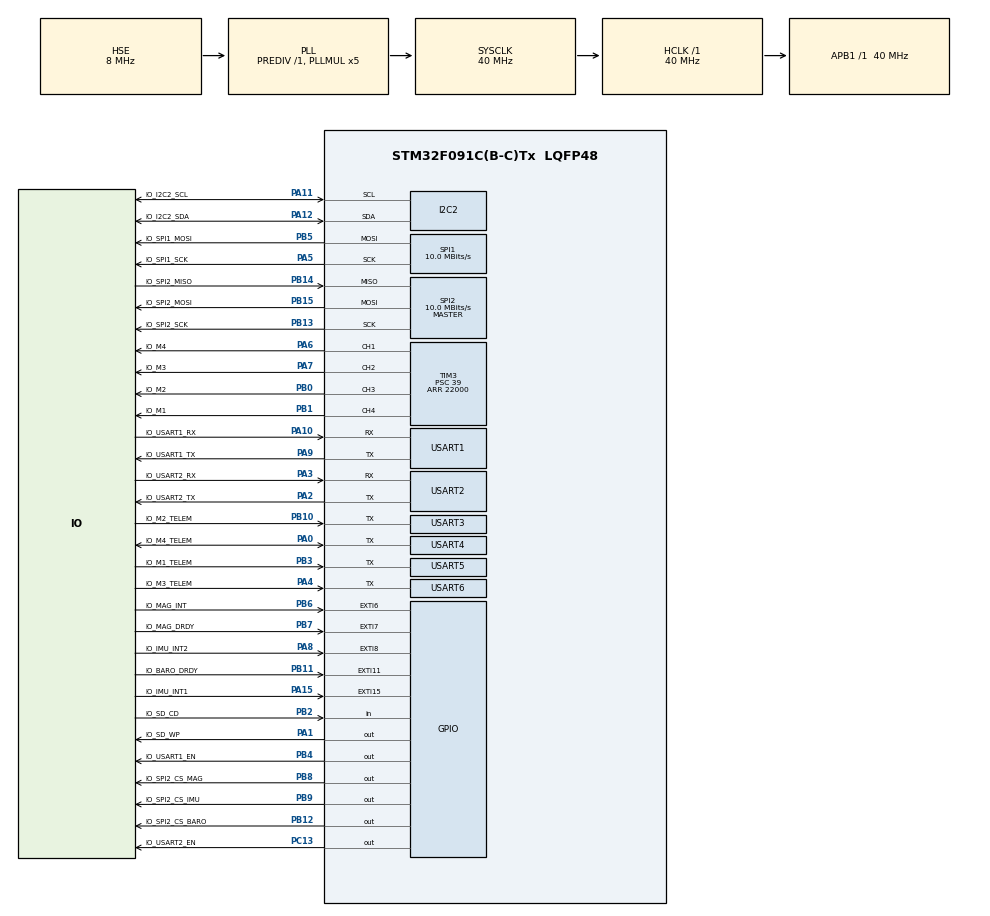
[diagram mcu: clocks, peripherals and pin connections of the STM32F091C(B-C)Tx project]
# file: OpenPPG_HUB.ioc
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Dma.Request0=USART1_RX
Dma.Request1=USART2_RX
Dma.Request10=SPI1_TX
Dma.Request2=USART3_RX
Dma.Request3=USART4_RX
Dma.Request4=USART1_TX
Dma.Request5=SPI2_TX
Dma.Request6=USART2_TX
Dma.Request7=USART5_RX
Dma.Request8=USART6_RX
Dma.Request9=SPI2_RX
Dma.SPI1_TX.10.Direction=DMA_MEMORY_TO_PERIPH
Dma.SPI1_TX.10.Instance=DMA2_Channel4
Dma.SPI1_TX.10.MemDataAlignment=DMA_MDATAALIGN_BYTE
Dma.SPI1_TX.10.MemInc=DMA_MINC_ENABLE
Dma.SPI1_TX.10.Mode=DMA_NORMAL
Dma.SPI1_TX.10.PeriphDataAlignment=DMA_PDATAALIGN_BYTE
Dma.SPI1_TX.10.PeriphInc=DMA_PINC_DISABLE
Dma.SPI1_TX.10.Priority=DMA_PRIORITY_LOW
Dma.SPI2_RX.9.Direction=DMA_PERIPH_TO_MEMORY
Dma.SPI2_RX.9.Instance=DMA1_Channel4
Dma.SPI2_RX.9.MemDataAlignment=DMA_MDATAALIGN_BYTE
Dma.SPI2_RX.9.MemInc=DMA_MINC_ENABLE
Dma.SPI2_RX.9.Mode=DMA_NORMAL
Dma.SPI2_RX.9.PeriphDataAlignment=DMA_PDATAALIGN_BYTE
Dma.SPI2_RX.9.PeriphInc=DMA_PINC_DISABLE
Dma.SPI2_RX.9.Priority=DMA_PRIORITY_LOW
Dma.SPI2_TX.5.Direction=DMA_MEMORY_TO_PERIPH
Dma.SPI2_TX.5.Instance=DMA1_Channel7
Dma.SPI2_TX.5.MemDataAlignment=DMA_MDATAALIGN_BYTE
Dma.SPI2_TX.5.MemInc=DMA_MINC_ENABLE
Dma.SPI2_TX.5.Mode=DMA_NORMAL
Dma.SPI2_TX.5.PeriphDataAlignment=DMA_PDATAALIGN_BYTE
Dma.SPI2_TX.5.PeriphInc=DMA_PINC_DISABLE
Dma.SPI2_TX.5.Priority=DMA_PRIORITY_LOW
Dma.USART1_RX.0.Direction=DMA_PERIPH_TO_MEMORY
Dma.USART1_RX.0.Instance=DMA1_Channel1
Dma.USART1_RX.0.MemDataAlignment=DMA_MDATAALIGN_BYTE
Dma.USART1_RX.0.MemInc=DMA_MINC_ENABLE
Dma.USART1_RX.0.Mode=DMA_NORMAL
Dma.USART1_RX.0.PeriphDataAlignment=DMA_PDATAALIGN_BYTE
Dma.USART1_RX.0.PeriphInc=DMA_PINC_DISABLE
Dma.USART1_RX.0.Priority=DMA_PRIORITY_LOW
Dma.USART1_TX.4.Direction=DMA_MEMORY_TO_PERIPH
Dma.USART1_TX.4.Instance=DMA1_Channel2
Dma.USART1_TX.4.MemDataAlignment=DMA_MDATAALIGN_BYTE
Dma.USART1_TX.4.MemInc=DMA_MINC_ENABLE
Dma.USART1_TX.4.Mode=DMA_NORMAL
Dma.USART1_TX.4.PeriphDataAlignment=DMA_PDATAALIGN_BYTE
Dma.USART1_TX.4.PeriphInc=DMA_PINC_DISABLE
Dma.USART1_TX.4.Priority=DMA_PRIORITY_LOW
Dma.USART2_RX.1.Direction=DMA_PERIPH_TO_MEMORY
Dma.USART2_RX.1.Instance=DMA1_Channel3
Dma.USART2_RX.1.MemDataAlignment=DMA_MDATAALIGN_BYTE
Dma.USART2_RX.1.MemInc=DMA_MINC_ENABLE
Dma.USART2_RX.1.Mode=DMA_NORMAL
Dma.USART2_RX.1.PeriphDataAlignment=DMA_PDATAALIGN_BYTE
Dma.USART2_RX.1.PeriphInc=DMA_PINC_DISABLE
Dma.USART2_RX.1.Priority=DMA_PRIORITY_LOW
Dma.USART2_TX.6.Direction=DMA_MEMORY_TO_PERIPH
Dma.USART2_TX.6.Instance=DMA2_Channel1
Dma.USART2_TX.6.MemDataAlignment=DMA_MDATAALIGN_BYTE
Dma.USART2_TX.6.MemInc=DMA_MINC_ENABLE
Dma.USART2_TX.6.Mode=DMA_NORMAL
Dma.USART2_TX.6.PeriphDataAlignment=DMA_PDATAALIGN_BYTE
Dma.USART2_TX.6.PeriphInc=DMA_PINC_DISABLE
Dma.USART2_TX.6.Priority=DMA_PRIORITY_LOW
Dma.USART3_RX.2.Direction=DMA_PERIPH_TO_MEMORY
Dma.USART3_RX.2.Instance=DMA1_Channel5
Dma.USART3_RX.2.MemDataAlignment=DMA_MDATAALIGN_BYTE
Dma.USART3_RX.2.MemInc=DMA_MINC_ENABLE
Dma.USART3_RX.2.Mode=DMA_NORMAL
Dma.USART3_RX.2.PeriphDataAlignment=DMA_PDATAALIGN_BYTE
Dma.USART3_RX.2.PeriphInc=DMA_PINC_DISABLE
Dma.USART3_RX.2.Priority=DMA_PRIORITY_LOW
Dma.USART4_RX.3.Direction=DMA_PERIPH_TO_MEMORY
Dma.USART4_RX.3.Instance=DMA1_Channel6
Dma.USART4_RX.3.MemDataAlignment=DMA_MDATAALIGN_BYTE
Dma.USART4_RX.3.MemInc=DMA_MINC_ENABLE
Dma.USART4_RX.3.Mode=DMA_NORMAL
Dma.USART4_RX.3.PeriphDataAlignment=DMA_PDATAALIGN_BYTE
Dma.USART4_RX.3.PeriphInc=DMA_PINC_DISABLE
Dma.USART4_RX.3.Priority=DMA_PRIORITY_LOW
Dma.USART5_RX.7.Direction=DMA_PERIPH_TO_MEMORY
Dma.USART5_RX.7.Instance=DMA2_Channel2
Dma.USART5_RX.7.MemDataAlignment=DMA_MDATAALIGN_BYTE
Dma.USART5_RX.7.MemInc=DMA_MINC_ENABLE
Dma.USART5_RX.7.Mode=DMA_NORMAL
Dma.USART5_RX.7.PeriphDataAlignment=DMA_PDATAALIGN_BYTE
Dma.USART5_RX.7.PeriphInc=DMA_PINC_DISABLE
Dma.USART5_RX.7.Priority=DMA_PRIORITY_LOW
Dma.USART6_RX.8.Direction=DMA_PERIPH_TO_MEMORY
Dma.USART6_RX.8.Instance=DMA2_Channel3
Dma.USART6_RX.8.MemDataAlignment=DMA_MDATAALIGN_BYTE
Dma.USART6_RX.8.MemInc=DMA_MINC_ENABLE
Dma.USART6_RX.8.Mode=DMA_NORMAL
Dma.USART6_RX.8.PeriphDataAlignment=DMA_PDATAALIGN_BYTE
Dma.USART6_RX.8.PeriphInc=DMA_PINC_DISABLE
Dma.USART6_RX.8.Priority=DMA_PRIORITY_LOW
I2C2.Timing=0x00909BEB
IWDG.Prescaler=IWDG_PRESCALER_8
Mcu.Family=STM32F0
Mcu.Name=STM32F091C(B-C)Tx
Mcu.Package=LQFP48
NVIC.DMA1_Ch1_IRQn=true\:0\:0\:false\:false\:true\:false
NVIC.DMA1_Ch2_3_DMA2_Ch1_2_IRQn=true\:0\:0\:false\:false\:true\:false
NVIC.DMA1_Ch4_7_DMA2_Ch3_5_IRQn=true\:0\:0\:false\:false\:true\:false
NVIC.TIM3_IRQn=true\:0\:0\:false\:false\:true\:true
NVIC.USART1_IRQn=true\:0\:0\:false\:false\:true\:true
NVIC.USART2_IRQn=true\:0\:0\:false\:false\:true\:true
NVIC.USART3_8_IRQn=true\:0\:0\:false\:false\:true\:true
PA0.GPIO_Label=IO_M4_TELEM
PA0.Mode=Half_duplex(single_wire_mode)
PA0.Signal=USART4_TX
PA1.GPIO_Label=IO_SD_WP
PA1.Signal=GPIO_Output
PA10.GPIO_Label=IO_USART1_RX
PA10.GPIO_PuPd=GPIO_PULLUP
PA10.Mode=Asynchronous
PA10.Signal=USART1_RX
PA11.GPIO_Label=IO_I2C2_SCL
PA11.Mode=I2C
PA11.Signal=I2C2_SCL
PA12.GPIO_Label=IO_I2C2_SDA
PA12.Mode=I2C
PA12.Signal=I2C2_SDA
PA13.Mode=Serial_Wire
PA13.Signal=SYS_SWDIO
PA14.Mode=Serial_Wire
PA14.Signal=SYS_SWCLK
PA15.GPIO_Label=IO_IMU_INT1
PA15.Signal=GPXTI15
PA2.GPIO_Label=IO_USART2_TX
PA2.GPIO_PuPd=GPIO_PULLUP
PA2.Mode=Asynchronous
PA2.Signal=USART2_TX
PA3.GPIO_Label=IO_USART2_RX
PA3.GPIO_PuPd=GPIO_PULLUP
PA3.Mode=Asynchronous
PA3.Signal=USART2_RX
PA4.GPIO_Label=IO_M3_TELEM
PA4.Mode=Half_duplex(single_wire_mode)
PA4.Signal=USART6_TX
PA5.GPIO_Label=IO_SPI1_SCK
PA5.Mode=TX_Only_Simplex_Unidirect_Master
PA5.Signal=SPI1_SCK
PA6.GPIO_Label=IO_M4
PA6.Signal=S_TIM3_CH1
PA7.GPIO_Label=IO_M3
PA7.Signal=S_TIM3_CH2
PA8.GPIO_Label=IO_IMU_INT2
PA8.Signal=GPXTI8
PA9.GPIO_Label=IO_USART1_TX
PA9.GPIO_PuPd=GPIO_PULLUP
PA9.Mode=Asynchronous
PA9.Signal=USART1_TX
PB0.GPIO_Label=IO_M2
PB0.Signal=S_TIM3_CH3
PB1.GPIO_Label=IO_M1
PB1.Signal=S_TIM3_CH4
PB10.GPIO_Label=IO_M2_TELEM
PB10.Mode=Half_duplex(single_wire_mode)
PB10.Signal=USART3_TX
PB11.GPIO_Label=IO_BARO_DRDY
PB11.Signal=GPXTI11
PB12.GPIO_Label=IO_SPI2_CS_BARO
PB12.PinState=GPIO_PIN_SET
PB12.Signal=GPIO_Output
PB13.GPIO_Label=IO_SPI2_SCK
PB13.Mode=Full_Duplex_Master
PB13.Signal=SPI2_SCK
PB14.GPIO_Label=IO_SPI2_MISO
PB14.Mode=Full_Duplex_Master
PB14.Signal=SPI2_MISO
PB15.GPIO_Label=IO_SPI2_MOSI
PB15.Mode=Full_Duplex_Master
PB15.Signal=SPI2_MOSI
PB2.GPIO_Label=IO_SD_CD
PB2.Signal=GPIO_Input
PB3.GPIO_Label=IO_M1_TELEM
PB3.Mode=Half_duplex(single_wire_mode)
PB3.Signal=USART5_TX
PB4.GPIO_Label=IO_USART1_EN
PB4.GPIO_Speed=GPIO_SPEED_FREQ_LOW
PB4.Signal=GPIO_Output
PB5.GPIO_Label=IO_SPI1_MOSI
PB5.Mode=TX_Only_Simplex_Unidirect_Master
PB5.Signal=SPI1_MOSI
PB6.GPIO_Label=IO_MAG_INT
PB6.Signal=GPXTI6
PB7.GPIO_Label=IO_MAG_DRDY
PB7.Signal=GPXTI7
PB8.GPIO_Label=IO_SPI2_CS_MAG
PB8.PinState=GPIO_PIN_SET
PB8.Signal=GPIO_Output
PB9.GPIO_Label=IO_SPI2_CS_IMU
PB9.PinState=GPIO_PIN_SET
PB9.Signal=GPIO_Output
PC13.GPIO_Label=IO_USART2_EN
PC13.Signal=GPIO_Output
PC14OSC32_IN.GPIO_Label=IO_LED_STATUS
PC14OSC32_IN.Signal=GPIO_Output
PC15OSC32_OUT.GPIO_Label=IO_SD_CS
PC15OSC32_OUT.PinState=GPIO_PIN_SET
PC15OSC32_OUT.Signal=GPIO_Output
PF0-OSC_IN.Mode=HSE-External-Oscillator
PF0-OSC_IN.Signal=RCC_OSC_IN
PF1-OSC_OUT.Mode=HSE-External-Oscillator
PF1-OSC_OUT.Signal=RCC_OSC_OUT
ProjectManager.HeapSize=0x200
ProjectManager.StackSize=0x400
ProjectManager.TargetToolchain=TrueSTUDIO
RCC.AHBFreq_Value=40000000
RCC.APB1Freq_Value=40000000
RCC.APB1TimFreq_Value=40000000
RCC.HCLKFreq_Value=40000000
RCC.PLLMUL=RCC_PLL_MUL5
RCC.PLLSourceVirtual=RCC_PLLSOURCE_HSE
RCC.SYSCLKFreq_VALUE=40000000
RCC.SYSCLKSource=RCC_SYSCLKSOURCE_PLLCLK
SH.S_TIM3_CH1.0=TIM3_CH1,PWM Generation1 CH1
SH.S_TIM3_CH2.0=TIM3_CH2,PWM Generation2 CH2
SH.S_TIM3_CH3.0=TIM3_CH3,PWM Generation3 CH3
SH.S_TIM3_CH4.0=TIM3_CH4,PWM Generation4 CH4
SPI1.BaudRatePrescaler=SPI_BAUDRATEPRESCALER_4
SPI1.CalculateBaudRate=10.0 MBits/s
SPI1.Direction=SPI_DIRECTION_2LINES
SPI1.Mode=SPI_MODE_MASTER
SPI1.VirtualType=VM_MASTER
SPI2.BaudRatePrescaler=SPI_BAUDRATEPRESCALER_4
SPI2.CLKPhase=SPI_PHASE_2EDGE
SPI2.CLKPolarity=SPI_POLARITY_HIGH
SPI2.CalculateBaudRate=10.0 MBits/s
SPI2.DataSize=SPI_DATASIZE_8BIT
SPI2.Direction=SPI_DIRECTION_2LINES
SPI2.Mode=SPI_MODE_MASTER
SPI2.VirtualType=VM_MASTER
STMicroelectronics.X-CUBE-MEMS1.5.2.1.BoardOoComponentJjMEMS.apiComponent0=Board Extension\:IKS01A2
STMicroelectronics.X-CUBE-MEMS1.5.2.1.BoardOoComponentJjMEMS.apiDoc0=Documentation/X_CUBE_MEMS1.chm
STMicroelectronics.X-CUBE-MEMS1.5.2.1.BoardOoComponentJjMEMS.cmp_version0=5.2.1
STMicroelectronics.X-CUBE-MEMS1.5.2.1.BoardOoComponentJjMEMS.cmp_version1=5.2.1
STMicroelectronics.X-CUBE-MEMS1.5.2.1.BoardOoComponentJjMEMS.component0=Board Component
STMicroelectronics.X-CUBE-MEMS1.5.2.1.BoardOoComponentJjMEMS.component1=Board Component
STMicroelectronics.X-CUBE-MEMS1.5.2.1.BoardOoComponentJjMEMS.description0=MEMS library for custom boards,LSM6DSL component driver
STMicroelectronics.X-CUBE-MEMS1.5.2.1.BoardOoComponentJjMEMS.description1=MEMS library for custom boards,LPS22HB component driver
STMicroelectronics.X-CUBE-MEMS1.5.2.1.BoardOoComponentJjMEMS.diagnostic0=This component should operate correctly.
STMicroelectronics.X-CUBE-MEMS1.5.2.1.BoardOoComponentJjMEMS.diagnostic1=This component should operate correctly.
STMicroelectronics.X-CUBE-MEMS1.5.2.1.BoardOoComponentJjMEMS.documentation0=Documentation/STMicroelectronics.X-CUBE-MEMS1_GettingStarted.pdf
STMicroelectronics.X-CUBE-MEMS1.5.2.1.BoardOoComponentJjMEMS.documentation1=Documentation/STMicroelectronics.X-CUBE-MEMS1_GettingStarted.pdf
STMicroelectronics.X-CUBE-MEMS1.5.2.1.BoardOoComponentJjMEMS.group0=AccGyr
STMicroelectronics.X-CUBE-MEMS1.5.2.1.BoardOoComponentJjMEMS.group1=PressTemp
STMicroelectronics.X-CUBE-MEMS1.5.2.1.BoardOoComponentJjMEMS.paramName0=MEMSCcBoardOoComponentJjAccGyrJjLSM6DSL
STMicroelectronics.X-CUBE-MEMS1.5.2.1.BoardOoComponentJjMEMS.paramName1=MEMSCcBoardOoComponentJjPressTempJjLPS22HB
STMicroelectronics.X-CUBE-MEMS1.5.2.1.BoardOoComponentJjMEMS.sevirity0=none
STMicroelectronics.X-CUBE-MEMS1.5.2.1.BoardOoComponentJjMEMS.sevirity1=none
STMicroelectronics.X-CUBE-MEMS1.5.2.1.BoardOoComponentJjMEMS.sub-group0=LSM6DSL
STMicroelectronics.X-CUBE-MEMS1.5.2.1.BoardOoComponentJjMEMS.sub-group1=LPS22HB
STMicroelectronics.X-CUBE-MEMS1.5.2.1.BoardOoComponentJjMEMS.variant0=SPI
STMicroelectronics.X-CUBE-MEMS1.5.2.1.BoardOoComponentJjMEMS.variant1=SPI
STMicroelectronics.X-CUBE-MEMS1.5.2.1.BoardOoComponentJjMEMS_apiSize=1
STMicroelectronics.X-CUBE-MEMS1.5.2.1.BoardOoComponentJjMEMS_bundle=MEMS
STMicroelectronics.X-CUBE-MEMS1.5.2.1.BoardOoComponentJjMEMS_class=BoardOoComponent
STMicroelectronics.X-CUBE-MEMS1.5.2.1.BoardOoComponentJjMEMS_name=X-CUBE-MEMS1
STMicroelectronics.X-CUBE-MEMS1.5.2.1.BoardOoComponentJjMEMS_size=2
STMicroelectronics.X-CUBE-MEMS1.5.2.1.BoardOoComponentJjMEMS_vendor=STMicroelectronics
STMicroelectronics.X-CUBE-MEMS1.5.2.1.BoardOoComponentJjMEMS_version=5.2.1
STMicroelectronics.X-CUBE-MEMS1.5.2.1.BoardOoSupportJjSTM32CubeIiCustomIiBSPIiDrivers.apiComponent0=Board Extension\:IKS01A2
STMicroelectronics.X-CUBE-MEMS1.5.2.1.BoardOoSupportJjSTM32CubeIiCustomIiBSPIiDrivers.apiDoc0=Documentation/X_CUBE_MEMS1.chm
STMicroelectronics.X-CUBE-MEMS1.5.2.1.BoardOoSupportJjSTM32CubeIiCustomIiBSPIiDrivers.cmp_version0=5.2.1
STMicroelectronics.X-CUBE-MEMS1.5.2.1.BoardOoSupportJjSTM32CubeIiCustomIiBSPIiDrivers.cmp_version1=5.2.1
STMicroelectronics.X-CUBE-MEMS1.5.2.1.BoardOoSupportJjSTM32CubeIiCustomIiBSPIiDrivers.component0=Board Support
STMicroelectronics.X-CUBE-MEMS1.5.2.1.BoardOoSupportJjSTM32CubeIiCustomIiBSPIiDrivers.component1=Board Support
STMicroelectronics.X-CUBE-MEMS1.5.2.1.BoardOoSupportJjSTM32CubeIiCustomIiBSPIiDrivers.description0=MEMS Board Support Package for custom boards,BSP for Motion Sensors 
STMicroelectronics.X-CUBE-MEMS1.5.2.1.BoardOoSupportJjSTM32CubeIiCustomIiBSPIiDrivers.description1=MEMS Board Support Package for custom boards,BSP for Environmental Sensors 
STMicroelectronics.X-CUBE-MEMS1.5.2.1.BoardOoSupportJjSTM32CubeIiCustomIiBSPIiDrivers.diagnostic0=This component should operate correctly.
STMicroelectronics.X-CUBE-MEMS1.5.2.1.BoardOoSupportJjSTM32CubeIiCustomIiBSPIiDrivers.diagnostic1=This component should operate correctly.
STMicroelectronics.X-CUBE-MEMS1.5.2.1.BoardOoSupportJjSTM32CubeIiCustomIiBSPIiDrivers.documentation0=Documentation/STMicroelectronics.X-CUBE-MEMS1_GettingStarted.pdf
STMicroelectronics.X-CUBE-MEMS1.5.2.1.BoardOoSupportJjSTM32CubeIiCustomIiBSPIiDrivers.documentation1=Documentation/STMicroelectronics.X-CUBE-MEMS1_GettingStarted.pdf
STMicroelectronics.X-CUBE-MEMS1.5.2.1.BoardOoSupportJjSTM32CubeIiCustomIiBSPIiDrivers.group0=Custom
STMicroelectronics.X-CUBE-MEMS1.5.2.1.BoardOoSupportJjSTM32CubeIiCustomIiBSPIiDrivers.group1=Custom
STMicroelectronics.X-CUBE-MEMS1.5.2.1.BoardOoSupportJjSTM32CubeIiCustomIiBSPIiDrivers.paramName0=STM32CubeIiCustomIiBSPIiDriversCcBoardOoSupportJjCustomJjMOTIONIiSENSOR
STMicroelectronics.X-CUBE-MEMS1.5.2.1.BoardOoSupportJjSTM32CubeIiCustomIiBSPIiDrivers.paramName1=STM32CubeIiCustomIiBSPIiDriversCcBoardOoSupportJjCustomJjENVIiSENSOR
STMicroelectronics.X-CUBE-MEMS1.5.2.1.BoardOoSupportJjSTM32CubeIiCustomIiBSPIiDrivers.sevirity0=none
STMicroelectronics.X-CUBE-MEMS1.5.2.1.BoardOoSupportJjSTM32CubeIiCustomIiBSPIiDrivers.sevirity1=none
STMicroelectronics.X-CUBE-MEMS1.5.2.1.BoardOoSupportJjSTM32CubeIiCustomIiBSPIiDrivers.sub-group0=MOTION_SENSOR
STMicroelectronics.X-CUBE-MEMS1.5.2.1.BoardOoSupportJjSTM32CubeIiCustomIiBSPIiDrivers.sub-group1=ENV_SENSOR
STMicroelectronics.X-CUBE-MEMS1.5.2.1.BoardOoSupportJjSTM32CubeIiCustomIiBSPIiDrivers_apiSize=1
STMicroelectronics.X-CUBE-MEMS1.5.2.1.BoardOoSupportJjSTM32CubeIiCustomIiBSPIiDrivers_bundle=STM32Cube_Custom_BSP_Drivers
STMicroelectronics.X-CUBE-MEMS1.5.2.1.BoardOoSupportJjSTM32CubeIiCustomIiBSPIiDrivers_class=BoardOoSupport
STMicroelectronics.X-CUBE-MEMS1.5.2.1.BoardOoSupportJjSTM32CubeIiCustomIiBSPIiDrivers_name=X-CUBE-MEMS1
STMicroelectronics.X-CUBE-MEMS1.5.2.1.BoardOoSupportJjSTM32CubeIiCustomIiBSPIiDrivers_size=2
STMicroelectronics.X-CUBE-MEMS1.5.2.1.BoardOoSupportJjSTM32CubeIiCustomIiBSPIiDrivers_vendor=STMicroelectronics
STMicroelectronics.X-CUBE-MEMS1.5.2.1.BoardOoSupportJjSTM32CubeIiCustomIiBSPIiDrivers_version=5.2.1
STMicroelectronics.X-CUBE-MEMS1.5.2.1.MEMSCcBoardOoComponentJjAccGyrJjLSM6DSL=SPI
STMicroelectronics.X-CUBE-MEMS1.5.2.1.MEMSCcBoardOoComponentJjPressTempJjLPS22HB=SPI
STMicroelectronics.X-CUBE-MEMS1.5.2.1.STM32CubeIiCustomIiBSPIiDriversCcBoardOoSupportJjCustomJjENVIiSENSOR=true
STMicroelectronics.X-CUBE-MEMS1.5.2.1.STM32CubeIiCustomIiBSPIiDriversCcBoardOoSupportJjCustomJjMOTIONIiSENSOR=true
STMicroelectronics.X-CUBE-MEMS1.5.2.1_BoardOoComponentJjMEMS_RteComponent0=\#define LSM6DSL_ACCGYR_SPI
STMicroelectronics.X-CUBE-MEMS1.5.2.1_BoardOoComponentJjMEMS_RteComponent1=\#define LPS22HB_PRESSTEMP_SPI
STMicroelectronics.X-CUBE-MEMS1.5.2.1_BoardOoComponentJjMEMS_RteComponentsize=2
STMicroelectronics.X-CUBE-MEMS1.5.2.1_BoardOoExtensionJjMEMS_RteComponentsize=0
STMicroelectronics.X-CUBE-MEMS1.5.2.1_BoardOoSupportJjSTM32CubeIiCustomIiBSPIiDrivers_RteComponent0=\#define BSP_MOTION_SENSORS
STMicroelectronics.X-CUBE-MEMS1.5.2.1_BoardOoSupportJjSTM32CubeIiCustomIiBSPIiDrivers_RteComponent1=\#define BSP_ENV_SENSORS
STMicroelectronics.X-CUBE-MEMS1.5.2.1_BoardOoSupportJjSTM32CubeIiCustomIiBSPIiDrivers_RteComponentsize=2
STMicroelectronics.X-CUBE-MEMS1.5.2.1_DeviceJjApplication_RteComponentsize=0
STMicroelectronics.X-CUBE-MEMS1.5.2.1_description=Drivers and sample applications for MEMS components
STMicroelectronics.X-CUBE-MEMS1.5.2.1_license=en.DM00367782.pdf
TIM3.AutoReloadPreload=TIM_AUTORELOAD_PRELOAD_ENABLE
TIM3.Channel-PWM\ Generation1\ CH1=TIM_CHANNEL_1
TIM3.Channel-PWM\ Generation2\ CH2=TIM_CHANNEL_2
TIM3.Channel-PWM\ Generation3\ CH3=TIM_CHANNEL_3
TIM3.Channel-PWM\ Generation4\ CH4=TIM_CHANNEL_4
TIM3.CounterMode=TIM_COUNTERMODE_DOWN
TIM3.Period=22000
TIM3.Prescaler=39
USART1.VirtualMode-Asynchronous=VM_ASYNC
USART2.VirtualMode-Asynchronous=VM_ASYNC
USART3.BaudRate=19200
USART3.Mode=MODE_RX
USART3.VirtualMode-Half_duplex(single_wire_mode)=VM_ASYNC
USART4.BaudRate=19200
USART4.VirtualMode-Half_duplex(single_wire_mode)=VM_ASYNC
USART5.BaudRate=19200
USART5.Mode=MODE_RX
USART5.SwapParam=ADVFEATURE_SWAP_DISABLE
USART5.VirtualMode-Half_duplex(single_wire_mode)=VM_ASYNC
USART6.BaudRate=19200
USART6.Mode=MODE_RX
USART6.VirtualMode=VM_ASYNC
VP_FATFS_VS_Generic.Mode=User_defined
VP_IWDG_VS_IWDG.Mode=IWDG_Activate
VP_TIM3_VS_OPM.Mode=OPM_bit
board=custom

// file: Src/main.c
/* USER CODE BEGIN Header */
/**
  ******************************************************************************
  * @file           : main.c
  * @brief          : Main program body
  ******************************************************************************
  * This notice applies to any and all portions of this file
  * that are not between comment pairs USER CODE BEGIN and
  * USER CODE END. Other portions of this file, whether
  * inserted by the user or by software development tools
  * are owned by their respective copyright owners.
  *
  * Copyright (c) 2019 STMicroelectronics International N.V.
  * All rights reserved.
  *
  * Redistribution and use in source and binary forms, with or without
  * modification, are permitted, provided that the following conditions are met:
  *
  * 1. Redistribution of source code must retain the above copyright notice,
  *    this list of conditions and the following disclaimer.
  * 2. Redistributions in binary form must reproduce the above copyright notice,
  *    this list of conditions and the following disclaimer in the documentation
  *    and/or other materials provided with the distribution.
  * 3. Neither the name of STMicroelectronics nor the names of other
  *    contributors to this software may be used to endorse or promote products
  *    derived from this software without specific written permission.
  * 4. This software, including modifications and/or derivative works of this
  *    software, must execute solely and exclusively on microcontroller or
  *    microprocessor devices manufactured by or for STMicroelectronics.
  * 5. Redistribution and use of this software other than as permitted under
  *    this license is void and will automatically terminate your rights under
  *    this license.
  *
  * THIS SOFTWARE IS PROVIDED BY STMICROELECTRONICS AND CONTRIBUTORS "AS IS"
  * AND ANY EXPRESS, IMPLIED OR STATUTORY WARRANTIES, INCLUDING, BUT NOT
  * LIMITED TO, THE IMPLIED WARRANTIES OF MERCHANTABILITY, FITNESS FOR A
  * PARTICULAR PURPOSE AND NON-INFRINGEMENT OF THIRD PARTY INTELLECTUAL PROPERTY
  * RIGHTS ARE DISCLAIMED TO THE FULLEST EXTENT PERMITTED BY LAW. IN NO EVENT
  * SHALL STMICROELECTRONICS OR CONTRIBUTORS BE LIABLE FOR ANY DIRECT, INDIRECT,
  * INCIDENTAL, SPECIAL, EXEMPLARY, OR CONSEQUENTIAL DAMAGES (INCLUDING, BUT NOT
  * LIMITED TO, PROCUREMENT OF SUBSTITUTE GOODS OR SERVICES; LOSS OF USE, DATA,
  * OR PROFITS; OR BUSINESS INTERRUPTION) HOWEVER CAUSED AND ON ANY THEORY OF
  * LIABILITY, WHETHER IN CONTRACT, STRICT LIABILITY, OR TORT (INCLUDING
  * NEGLIGENCE OR OTHERWISE) ARISING IN ANY WAY OUT OF THE USE OF THIS SOFTWARE,
  * EVEN IF ADVISED OF THE POSSIBILITY OF SUCH DAMAGE.
  *
  ******************************************************************************
  */
/* USER CODE END Header */

#include "main.h"
#include "dma.h"
#include "fatfs.h"
#include "i2c.h"
#include "iwdg.h"
#include "spi.h"
#include "tim.h"
#include "usart.h"
#include "gpio.h"

/* USER CODE BEGIN Includes */
#include "data_log.h"
#include "flash.h"
#include "controllerInterface.h"
#include "baro_LPS22HB.h"
#include "baro_proc.h"
#include "imu_LSM9DS1.h"
/* USER CODE END Includes */

/* USER CODE BEGIN PV */
#define APPLICATION_ADDRESS     (uint32_t)0x08008000
#if   (defined ( __CC_ARM ))
__IO uint32_t VectorTable[48] __attribute__((at(0x20000000)));
#elif (defined (__ICCARM__))
#pragma location = 0x20000000
__no_init __IO uint32_t VectorTable[48];
#elif defined   (  __GNUC__  )
__IO uint32_t VectorTable[48] __attribute__((section(".RAMVectorTable")));
#endif /* (defined ( __CC_ARM )) */

__attribute__((__section__(".crc"))) const uint32_t crc = 0xF0F0F0F0;

__attribute__((__section__(".user_data"))) const STR_CONFIG paramSpace;
STR_CONFIG parameters;
/* USER CODE END PV */

void SystemClock_Config(void);

/* USER CODE BEGIN 0 */
uint8_t armedState = 0;
uint8_t baroState = 0;
uint8_t imuState = 0;
uint8_t magState = 0;
int32_t uartTimeout = 0;
uint32_t debugTime[20];
char resetString[20];
/* USER CODE END 0 */

int main(void)
{
  /* USER CODE BEGIN 1 */
	/* Copy the vector table from the Flash (mapped at the base of the application
	     load address 0x08003000) to the base address of the SRAM at 0x20000000. */
	  for (uint32_t i = 0; i < 48; i++)
	  {
	    VectorTable[i] = *(__IO uint32_t*)(APPLICATION_ADDRESS + (i << 2));
	  }
	  //volatile uint32_t *VectorTable = (volatile uint32_t *)0x20000000;
	  //for(uint32_t ui32_VectorIndex = 0; ui32_VectorIndex < 48; ui32_VectorIndex++)
	  //{
	  //  VectorTable[ui32_VectorIndex] = *(__IO uint32_t*)((uint32_t)APPLICATION_ADDRESS + (ui32_VectorIndex << 2));
	 // }
	  //  Enable SYSCFG peripheral clock
	  __HAL_RCC_SYSCFG_CLK_ENABLE();
	   // Remap RAM into 0x0000 0000
	  __HAL_SYSCFG_REMAPMEMORY_SRAM();
  /* USER CODE END 1 */

  /* MCU Configuration--------------------------------------------------------*/

  /* Reset of all peripherals, Initializes the Flash interface and the Systick. */
  HAL_Init();

  /* Configure the system clock */
  SystemClock_Config();

  /* USER CODE BEGIN SysInit */
  __HAL_RCC_DBGMCU_CLK_ENABLE();
  __HAL_DBGMCU_FREEZE_IWDG();
  flashInit();
  /* USER CODE END SysInit */

  /* Initialize all configured peripherals */
  MX_GPIO_Init();
  MX_DMA_Init();
  MX_I2C2_Init();
  MX_TIM3_Init();
  MX_USART1_UART_Init();
  MX_USART2_UART_Init();
  MX_USART3_UART_Init();
  MX_USART4_UART_Init();
  MX_USART5_UART_Init();
  MX_USART6_UART_Init();
  MX_FATFS_Init();
  MX_SPI2_Init();
  MX_SPI1_Init();
  MX_IWDG_Init();
  /* USER CODE BEGIN 2 */
  //WDT set to prescaler = 32, reload value = 4095. Provides about 3200ms before reset.
  IWDG_SetPrescaler(IWDG_PRESCALER_32);
  WDT_RESET;

  baroAvgInit();

  HAL_TIM_PWM_Start(&htim3, TIM_CHANNEL_1);
  HAL_TIM_PWM_Start(&htim3, TIM_CHANNEL_2);
  HAL_TIM_PWM_Start(&htim3, TIM_CHANNEL_3);
  HAL_TIM_PWM_Start(&htim3, TIM_CHANNEL_4);

  TCHAR fileName[100] = "log";
  char logData[1024];
  FRESULT logStatus = 0;
  WDT_RESET;
  logStatus = logInit(fileName);

  baroState = baroInit();
  imuState = imuInit();
  magState = magInit();

  if(logStatus == FR_OK)
  {
	  uint32_t bytesWritten = 0;
	  memset(logData, 0, sizeof(logData));
	  if(__HAL_RCC_GET_FLAG(RCC_FLAG_IWDGRST))
		  sprintf(resetString,"Watchdog Timer");
	  else if(__HAL_RCC_GET_FLAG(RCC_FLAG_SFTRST))
		  sprintf(resetString,"Power Cycle");
	  else
		  sprintf(resetString,"Other Cause");
	  sprintf(logData, "Reset Cause: %s\n", resetString);
 	  sprintf(logData+strlen(logData), "Time(ms),Esc Num, Packet Num, ThrottleInput, RPM, Voltage (), Current (), mAh, CapTemp, FetTemp\n");
 	  logStatus = logWriteData(logData, strlen(logData), bytesWritten);
 	 __HAL_RCC_CLEAR_RESET_FLAGS();
  }

  WDT_RESET;
  uartHandlesInit();

  UART_ESC_BeginReceive(&huartM1);
  UART_ESC_BeginReceive(&huartM2);
  UART_ESC_BeginReceive(&huartM3);
  UART_ESC_BeginReceive(&huartM4);

  UART_RS485_BeginReceive(&huartController);
  /* USER CODE END 2 */

  /* Infinite loop */
  /* USER CODE BEGIN WHILE */
  //WDT set to prescaler = 8, reload value = 4095. Provides about 800ms before reset.
  IWDG_SetPrescaler(IWDG_PRESCALER_8);
  while (1)
  {
    /* USER CODE END WHILE */

    /* USER CODE BEGIN 3 */
	  WDT_RESET;
	  uint32_t currentTime = HAL_GetTick();

	  static uint32_t lastTime = 0;
	  static uint32_t blinkTime = 510;
	  if(currentTime - lastTime > blinkTime)
	  {
		  STATUS_LED_TOGGLE;
		  lastTime = currentTime;
		  static uint8_t counter = 0;
		  if(uartTimeout > 0)
		  {
			  blinkTime = 50;
			  uartTimeout--;
		  }
		  else if(uartTimeout < 0)
		  {
			  blinkTime = 500;
			  uartTimeout = 0;
		  }
		  else
			  blinkTime = 500;

	  }

	  static const uint32_t baroSampleInterval = 250;
	  static uint32_t lastBaroSampleTime = 0;

	  if(currentTime - lastBaroSampleTime > baroSampleInterval)
	  {
		  lastBaroSampleTime=currentTime;

		  baroSample();
	  }

	  // Log data in CSV format
	  if(logStatus == FR_OK && armedState)
	  {
		  uint32_t startWriteTimeAll = HAL_GetTick();
		  static uint32_t lastPacketTime[NUM_ESCS];

		  uint32_t bytesWritten = 0;
		  memset(logData, 0, sizeof(logData));
		  for(uint8_t i = 0; i<NUM_ESCS; i++)
		  {
			  // Dont log the same data twice
			  if(escData[i].timeStamp > 0 && lastPacketTime[i] != escData[i].timeStamp)
			  {
				  sprintf(logData+strlen(logData), "%u,%u,%u,%u,%u,%u,%u,%u,%u,%u\n", escData[i].timeStamp, i, escData[i].packetNum, escData[i].throttleInput, escData[i].rpm, escData[i].voltage, escData[i].current, escData[i].mah, escData[i].capTemp, escData[i].fetTemp);
				  lastPacketTime[i] = escData[i].timeStamp;
			  }
			  //logStatus = logWriteData(fileName, (uint8_t*)logData, (i+1)*256, bytesWritten);
			  //debugTime[i] = HAL_GetTick() - startWriteTime;
		  }

		  // write pressure and temp data to log
		  sprintf(logData+strlen(logData), "pressure %u  temp %d\n", baroGetAvg(), baroGetTempAvg());

		  if(strlen(logData)>1)
		  {
			  logStatus = logWriteData((uint8_t*)logData, strlen(logData), bytesWritten);
			  debugTime[4] = HAL_GetTick() - startWriteTimeAll;
		  }

	  }
  }
  /* USER CODE END 3 */
}

void SystemClock_Config(void)
{
  RCC_OscInitTypeDef RCC_OscInitStruct = {0};
  RCC_ClkInitTypeDef RCC_ClkInitStruct = {0};
  RCC_PeriphCLKInitTypeDef PeriphClkInit = {0};

  /**Initializes the CPU, AHB and APB busses clocks
  */
  RCC_OscInitStruct.OscillatorType = RCC_OSCILLATORTYPE_LSI|RCC_OSCILLATORTYPE_HSE;
  RCC_OscInitStruct.HSEState = RCC_HSE_ON;
  RCC_OscInitStruct.LSIState = RCC_LSI_ON;
  RCC_OscInitStruct.PLL.PLLState = RCC_PLL_ON;
  RCC_OscInitStruct.PLL.PLLSource = RCC_PLLSOURCE_HSE;
  RCC_OscInitStruct.PLL.PLLMUL = RCC_PLL_MUL5;
  RCC_OscInitStruct.PLL.PREDIV = RCC_PREDIV_DIV1;
  if (HAL_RCC_OscConfig(&RCC_OscInitStruct) != HAL_OK)
  {
    Error_Handler();
  }
  /**Initializes the CPU, AHB and APB busses clocks
  */
  RCC_ClkInitStruct.ClockType = RCC_CLOCKTYPE_HCLK|RCC_CLOCKTYPE_SYSCLK
                              |RCC_CLOCKTYPE_PCLK1;
  RCC_ClkInitStruct.SYSCLKSource = RCC_SYSCLKSOURCE_PLLCLK;
  RCC_ClkInitStruct.AHBCLKDivider = RCC_SYSCLK_DIV1;
  RCC_ClkInitStruct.APB1CLKDivider = RCC_HCLK_DIV1;

  if (HAL_RCC_ClockConfig(&RCC_ClkInitStruct, FLASH_LATENCY_1) != HAL_OK)
  {
    Error_Handler();
  }
  PeriphClkInit.PeriphClockSelection = RCC_PERIPHCLK_USART3|RCC_PERIPHCLK_USART1
                              |RCC_PERIPHCLK_USART2;
  PeriphClkInit.Usart1ClockSelection = RCC_USART1CLKSOURCE_PCLK1;
  PeriphClkInit.Usart2ClockSelection = RCC_USART2CLKSOURCE_PCLK1;
  PeriphClkInit.Usart3ClockSelection = RCC_USART3CLKSOURCE_PCLK1;
  if (HAL_RCCEx_PeriphCLKConfig(&PeriphClkInit) != HAL_OK)
  {
    Error_Handler();
  }
}

void Error_Handler(void)
{
}

/************************ (C) COPYRIGHT STMicroelectronics *****END OF FILE****/
